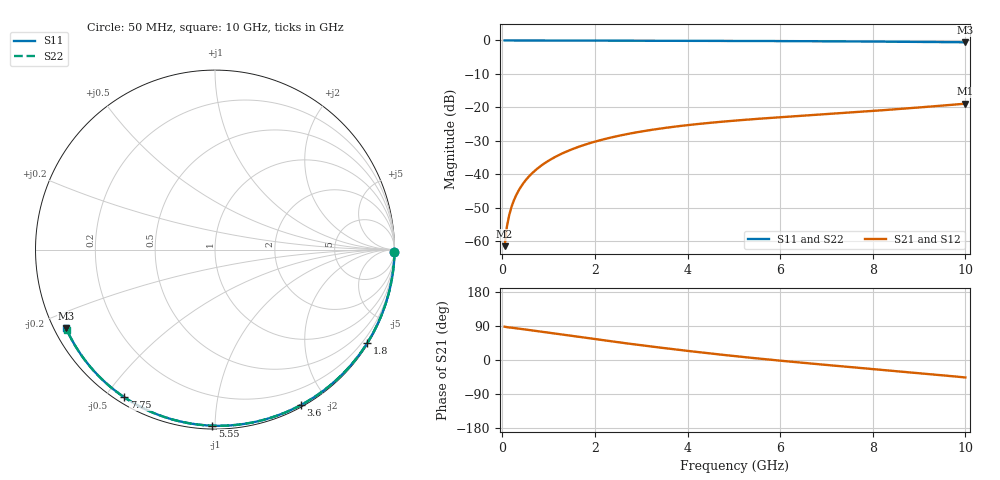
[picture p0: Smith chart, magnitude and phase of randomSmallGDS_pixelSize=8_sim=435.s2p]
! freq	dB(S11)	phase(S11)	dB(S12)	phase(S12)
!  dB(S21)	phase(S21)	dB(S22)	phase(S22)
!S-par simulation data
#  GHz  S  DB  R 50
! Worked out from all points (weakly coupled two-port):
!   200 points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, 50 MHz to 10 GHz, reference 50 ohm
!   highest |S21| = -18.88 dB at 10 GHz (marker M1); lowest = -61.4 dB at 50 MHz (marker M2)
!   lowest |S11| = -0.6 dB at 10 GHz (marker M3), VSWR 31.37, Z = 1.69 - j12.4 ohm
!   |S11| at or under -10 dB: nowhere
!   |S22| runs from -0.5 to 0.0 dB; largest |S21 - S12| = 0
!   S11 on the Smith chart (normalised r, x): 50 MHz: open; 1.8 GHz: 0.03, -3.55; 3.6 GHz: 0.02, -1.69; 5.55 GHz: 0.02, -0.99; 7.75 GHz: 0.02, -0.56; 10 GHz: 0.03, -0.25
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0.05  -0.00 -0.9  -61.42 88.0  -61.42 88.0  -0.00 -0.9
0.1  -0.00 -1.8  -55.53 86.7  -55.53 86.7  -0.00 -1.8
0.15  -0.00 -2.7  -52.10 85.9  -52.10 85.9  -0.00 -2.7
0.2  -0.00 -3.6  -49.66 85.2  -49.66 85.2  -0.00 -3.6
0.25  -0.00 -4.5  -47.76 84.4  -47.76 84.4  -0.00 -4.5
0.35  -0.00 -6.2  -44.88 82.9  -44.88 82.9  -0.00 -6.3
0.5  -0.01 -8.9  -41.82 80.5  -41.82 80.5  -0.01 -8.9
0.7  -0.01 -12.4  -38.93 77.1  -38.93 77.1  -0.01 -12.5
1  -0.02 -17.7  -35.90 72.0  -35.90 72.0  -0.02 -17.7
1.35  -0.03 -23.7  -33.39 66.0  -33.39 66.0  -0.03 -23.9
1.75  -0.04 -30.6  -31.27 59.2  -31.27 59.2  -0.04 -30.8
1.8  -0.04 -31.5  -31.05 58.4  -31.05 58.4  -0.04 -31.6
2.5  -0.06 -43.3  -28.51 46.9  -28.51 46.9  -0.06 -43.5
3.4  -0.09 -58.0  -26.33 32.9  -26.33 32.9  -0.09 -58.2
3.6  -0.09 -61.2  -25.96 29.9  -25.96 29.9  -0.09 -61.4
4.3  -0.11 -72.1  -24.84 19.9  -24.84 19.9  -0.11 -72.4
5.05  -0.14 -83.5  -23.90 9.9  -23.90 9.9  -0.14 -83.7
5.55  -0.16 -90.8  -23.37 3.6  -23.37 3.6  -0.16 -91.1
6.7  -0.23 -107.2  -22.28 -9.7  -22.28 -9.7  -0.23 -107.3
7.75  -0.30 -121.6  -21.29 -21.1  -21.29 -21.1  -0.30 -121.6
8.35  -0.36 -129.7  -20.69 -27.5  -20.69 -27.5  -0.36 -129.7
10  -0.55 -152.1  -18.88 -46.1  -18.88 -46.1  -0.55 -151.7
